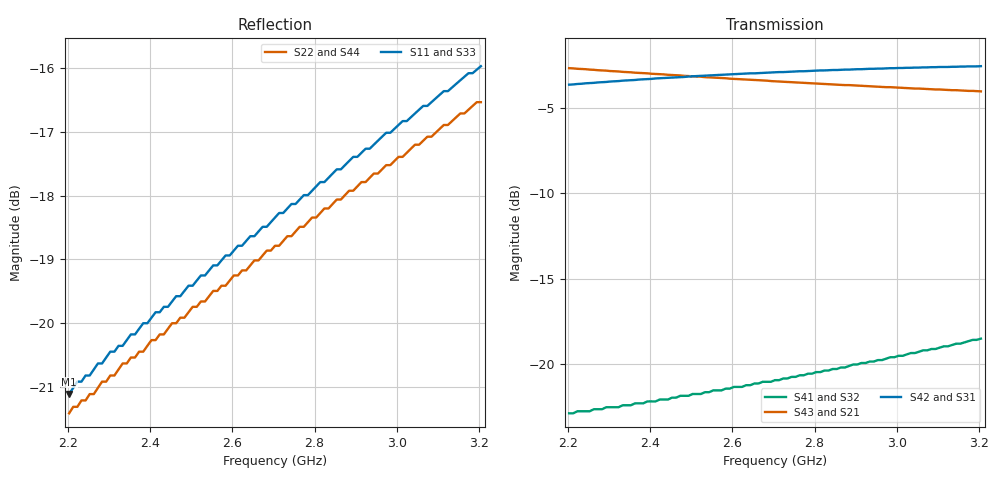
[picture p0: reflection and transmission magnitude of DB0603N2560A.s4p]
!	AVX	THIN	FILM	OPERATION
!	0603	SIZE	3dB	90deg	COUPLER	P/N	DB0603N2560ANTR
!	Created	october	2009
!	Network	Analyzer	HP8720E	S.07.64:	"Feb23,"	2000	Serial	No.US39172382
#	MHZ	S	MA	R	50
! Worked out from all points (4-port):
!   101 points, 2.203 GHz to 3.205 GHz, reference 50 ohm
!   strongest paths, dB at 2.203 GHz, 2.453 GHz, 2.704 GHz, 2.954 GHz, 3.205 GHz:
!     S42: -3.6, -3.2, -2.9, -2.7, -2.6
!     S31: -3.8, -3.4, -3.1, -3.0, -2.9
!     S43: -2.7, -3.1, -3.5, -3.8, -4.0
!     S21: -2.7, -3.1, -3.5, -3.8, -4.0
!     S41: -22.9, -21.9, -20.9, -19.7, -18.5
!     S32: -22.9, -21.9, -20.9, -19.7, -18.5
!   lowest |S11| = -21.1 dB at 2.203 GHz (marker M1), VSWR 1.19, Z = 48.2 + j8.47 ohm
!   |S11| at or under -10 dB: start of sweep to end of sweep
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2202.506  0.088 97.3  0.734 -49.8  0.647 39.6  0.072 57.6
          0.734 -49.8  0.085 103.6  0.072 57.6  0.657 39.4
          0.647 39.6  0.072 57.6  0.088 97.3  0.734 -49.8
          0.072 57.6  0.657 39.4  0.734 -49.8  0.085 103.6
2302.757  0.095 94.9  0.72 -51.5  0.66 38.0  0.075 58.3
          0.72 -51.5  0.091 101.6  0.075 58.3  0.671 37.8
          0.66 38.0  0.075 58.3  0.095 94.9  0.72 -51.5
          0.075 58.3  0.671 37.8  0.72 -51.5  0.091 101.6
2443.108  0.103 91.7  0.702 -53.8  0.675 35.8  0.079 59.3
          0.702 -53.8  0.099 98.9  0.079 59.3  0.688 35.6
          0.675 35.8  0.079 59.3  0.103 91.7  0.702 -53.8
          0.079 59.3  0.688 35.6  0.702 -53.8  0.099 98.9
2473.183  0.105 91.0  0.699 -54.2  0.678 35.4  0.081 59.5
          0.699 -54.2  0.101 98.4  0.081 59.5  0.691 35.1
          0.678 35.4  0.081 59.5  0.105 91.0  0.699 -54.2
          0.081 59.5  0.691 35.1  0.699 -54.2  0.101 98.4
2703.759  0.121 85.9  0.672 -57.8  0.696 32.1  0.09 61.0
          0.672 -57.8  0.115 94.4  0.09 61.0  0.714 31.8
          0.696 32.1  0.09 61.0  0.121 85.9  0.672 -57.8
          0.09 61.0  0.714 31.8  0.672 -57.8  0.115 94.4
2934.336  0.137 81.1  0.65 -61.3  0.708 29.1  0.102 61.9
          0.65 -61.3  0.13 90.7  0.102 61.9  0.731 28.6
          0.708 29.1  0.102 61.9  0.137 81.1  0.65 -61.3
          0.102 61.9  0.731 28.6  0.65 -61.3  0.13 90.7
3205.013  0.159 75.5  0.628 -65.3  0.714 25.9  0.119 62.0
          0.628 -65.3  0.149 86.5  0.119 62.0  0.744 25.2
          0.714 25.9  0.119 62.0  0.159 75.5  0.628 -65.3
          0.119 62.0  0.744 25.2  0.628 -65.3  0.149 86.5
